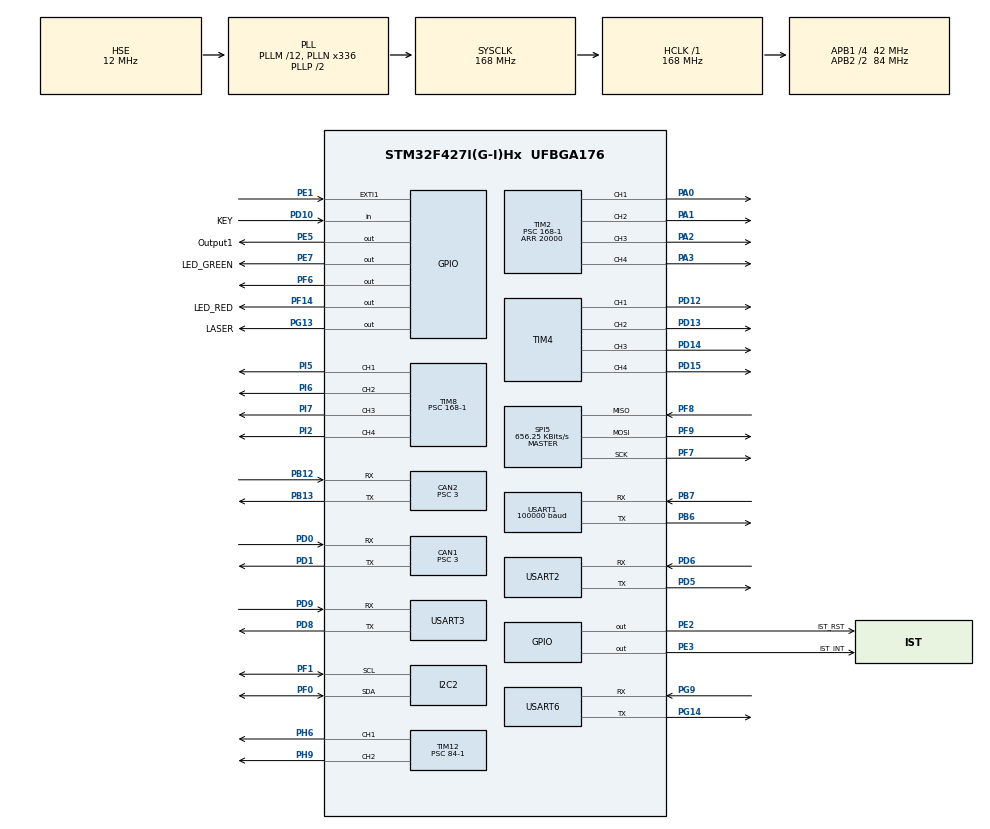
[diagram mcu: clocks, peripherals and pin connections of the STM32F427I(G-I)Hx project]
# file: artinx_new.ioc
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CAN1.BS1=CAN_BS1_9TQ
CAN1.BS2=CAN_BS2_4TQ
CAN1.CalculateTimeBit=1000
CAN1.CalculateTimeQuantum=71.42857142857143
CAN1.Mode=CAN_MODE_LOOPBACK
CAN1.Prescaler=3
CAN1.TXFP=ENABLE
CAN2.BS1=CAN_BS1_9TQ
CAN2.BS2=CAN_BS2_4TQ
CAN2.CalculateTimeBit=1000
CAN2.CalculateTimeQuantum=71.42857142857143
CAN2.Mode=CAN_MODE_LOOPBACK
CAN2.Prescaler=3
CAN2.TXFP=ENABLE
Dma.Request0=USART1_RX
Dma.USART1_RX.0.Direction=DMA_PERIPH_TO_MEMORY
Dma.USART1_RX.0.FIFOMode=DMA_FIFOMODE_DISABLE
Dma.USART1_RX.0.Instance=DMA2_Stream2
Dma.USART1_RX.0.MemDataAlignment=DMA_MDATAALIGN_BYTE
Dma.USART1_RX.0.MemInc=DMA_MINC_ENABLE
Dma.USART1_RX.0.Mode=DMA_NORMAL
Dma.USART1_RX.0.PeriphDataAlignment=DMA_PDATAALIGN_BYTE
Dma.USART1_RX.0.PeriphInc=DMA_PINC_DISABLE
Dma.USART1_RX.0.Priority=DMA_PRIORITY_LOW
Mcu.Family=STM32F4
Mcu.Name=STM32F427I(G-I)Hx
Mcu.Package=UFBGA176
NVIC.CAN1_RX0_IRQn=true\:1\:1\:true\:false\:true
NVIC.CAN1_TX_IRQn=true\:1\:1\:true\:false\:true
NVIC.CAN2_RX0_IRQn=true\:1\:1\:true\:false\:true
NVIC.CAN2_TX_IRQn=true\:1\:1\:true\:false\:true
NVIC.DMA2_Stream2_IRQn=true\:0\:0\:false\:false\:true
NVIC.EXTI1_IRQn=true\:0\:2\:false\:false\:true
NVIC.PriorityGroup=NVIC_PRIORITYGROUP_2
NVIC.TIM3_IRQn=true\:0\:0\:false\:false\:true
NVIC.TIM6_DAC_IRQn=true\:0\:1\:false\:false\:true
NVIC.USART1_IRQn=true\:0\:2\:false\:false\:true
NVIC.USART2_IRQn=true\:1\:0\:true\:false\:true
NVIC.USART3_IRQn=true\:1\:0\:true\:false\:true
NVIC.USART6_IRQn=true\:1\:0\:true\:false\:true
PA0/WKUP.Signal=S_TIM2_CH1_ETR
PA1.Signal=S_TIM2_CH2
PA2.Signal=S_TIM2_CH3
PA3.Signal=S_TIM2_CH4
PB12.Mode=Slave
PB12.Signal=CAN2_RX
PB13.Mode=Slave
PB13.Signal=CAN2_TX
PB6.Mode=Multiprocessor_communication
PB6.Signal=USART1_TX
PB7.Mode=Multiprocessor_communication
PB7.Signal=USART1_RX
PD0.Mode=Master
PD0.Signal=CAN1_RX
PD1.Mode=Master
PD1.Signal=CAN1_TX
PD10.GPIO_Label=KEY
PD10.Signal=GPIO_Input
PD12.GPIO_PuPd=GPIO_PULLUP
PD12.GPIO_Speed=GPIO_SPEED_FREQ_HIGH
PD12.Signal=S_TIM4_CH1
PD13.GPIO_PuPd=GPIO_PULLUP
PD13.GPIO_Speed=GPIO_SPEED_FREQ_HIGH
PD13.Signal=S_TIM4_CH2
PD14.GPIO_PuPd=GPIO_PULLUP
PD14.GPIO_Speed=GPIO_SPEED_FREQ_HIGH
PD14.Signal=S_TIM4_CH3
PD15.GPIO_PuPd=GPIO_PULLUP
PD15.GPIO_Speed=GPIO_SPEED_FREQ_HIGH
PD15.Signal=S_TIM4_CH4
PD5.Mode=Multiprocessor_communication
PD5.Signal=USART2_TX
PD6.Mode=Multiprocessor_communication
PD6.Signal=USART2_RX
PD8.Mode=Multiprocessor_communication
PD8.Signal=USART3_TX
PD9.Mode=Multiprocessor_communication
PD9.Signal=USART3_RX
PE1.Signal=GPXTI1
PE2.GPIO_Label=IST_RST
PE2.Signal=GPIO_Output
PE3.GPIO_Label=IST_INT
PE3.Signal=GPIO_Output
PE5.GPIO_Label=Output1
PE5.Signal=GPIO_Output
PE7.GPIO_Label=LED_GREEN
PE7.GPIO_Speed=GPIO_SPEED_FREQ_HIGH
PE7.Signal=GPIO_Output
PF0.GPIO_Speed=GPIO_SPEED_FREQ_LOW
PF0.Mode=I2C
PF0.Signal=I2C2_SDA
PF1.GPIO_Speed=GPIO_SPEED_FREQ_LOW
PF1.Mode=I2C
PF1.Signal=I2C2_SCL
PF14.GPIO_Label=LED_RED
PF14.GPIO_Speed=GPIO_SPEED_FREQ_HIGH
PF14.Signal=GPIO_Output
PF6.Signal=GPIO_Output
PF7.Mode=Full_Duplex_Master
PF7.Signal=SPI5_SCK
PF8.Mode=Full_Duplex_Master
PF8.Signal=SPI5_MISO
PF9.Mode=Full_Duplex_Master
PF9.Signal=SPI5_MOSI
PG13.GPIO_Label=LASER
PG13.Signal=GPIO_Output
PG14.Mode=Multiprocessor_communication
PG14.Signal=USART6_TX
PG9.Mode=Multiprocessor_communication
PG9.Signal=USART6_RX
PH0/OSC_IN.Mode=HSE-External-Oscillator
PH0/OSC_IN.Signal=RCC_OSC_IN
PH1/OSC_OUT.Mode=HSE-External-Oscillator
PH1/OSC_OUT.Signal=RCC_OSC_OUT
PH6.Signal=S_TIM12_CH1
PH9.Signal=S_TIM12_CH2
PI2.Signal=S_TIM8_CH4
PI5.Signal=S_TIM8_CH1
PI6.Signal=S_TIM8_CH2
PI7.Signal=S_TIM8_CH3
ProjectManager.HeapSize=0x200
ProjectManager.StackSize=0x400
ProjectManager.TargetToolchain=MDK-ARM V5
RCC.48MHZClocksFreq_Value=84000000
RCC.AHBFreq_Value=168000000
RCC.APB1CLKDivider=RCC_HCLK_DIV4
RCC.APB1Freq_Value=42000000
RCC.APB1TimFreq_Value=84000000
RCC.APB2CLKDivider=RCC_HCLK_DIV2
RCC.APB2Freq_Value=84000000
RCC.APB2TimFreq_Value=168000000
RCC.CortexFreq_Value=168000000
RCC.HCLKFreq_Value=168000000
RCC.HSE_VALUE=12000000
RCC.HSI_VALUE=16000000
RCC.LSE_VALUE=32768
RCC.PLLM=12
RCC.PLLN=336
RCC.PLLSourceVirtual=RCC_PLLSOURCE_HSE
RCC.SYSCLKFreq_VALUE=168000000
RCC.SYSCLKSource=RCC_SYSCLKSOURCE_PLLCLK
RCC.VCOOutputFreq_Value=336000000
SH.S_TIM12_CH1.0=TIM12_CH1,PWM Generation1 CH1
SH.S_TIM12_CH2.0=TIM12_CH2,PWM Generation2 CH2
SH.S_TIM2_CH1_ETR.0=TIM2_CH1,PWM Generation1 CH1
SH.S_TIM2_CH2.0=TIM2_CH2,PWM Generation2 CH2
SH.S_TIM2_CH3.0=TIM2_CH3,PWM Generation3 CH3
SH.S_TIM2_CH4.0=TIM2_CH4,PWM Generation4 CH4
SH.S_TIM4_CH1.0=TIM4_CH1,PWM Generation1 CH1
SH.S_TIM4_CH2.0=TIM4_CH2,PWM Generation2 CH2
SH.S_TIM4_CH3.0=TIM4_CH3,PWM Generation3 CH3
SH.S_TIM4_CH4.0=TIM4_CH4,PWM Generation4 CH4
SH.S_TIM8_CH1.0=TIM8_CH1,PWM Generation1 CH1
SH.S_TIM8_CH2.0=TIM8_CH2,PWM Generation2 CH2
SH.S_TIM8_CH3.0=TIM8_CH3,PWM Generation3 CH3
SH.S_TIM8_CH4.0=TIM8_CH4,PWM Generation4 CH4
SPI5.BaudRatePrescaler=SPI_BAUDRATEPRESCALER_128
SPI5.CalculateBaudRate=656.25 KBits/s
SPI5.Mode=SPI_MODE_MASTER
TIM12.Channel-PWM\ Generation2\ CH2=TIM_CHANNEL_2
TIM12.Period=2500
TIM12.Prescaler=84-1
TIM12.Pulse-PWM\ Generation1\ CH1=1000
TIM2.Channel-PWM\ Generation2\ CH2=TIM_CHANNEL_2
TIM2.Channel-PWM\ Generation3\ CH3=TIM_CHANNEL_3
TIM2.Channel-PWM\ Generation4\ CH4=TIM_CHANNEL_4
TIM2.Period=20000
TIM2.Prescaler=168-1
TIM3.Period=10000-1
TIM3.Prescaler=8400-1
TIM4.Channel-PWM\ Generation2\ CH2=TIM_CHANNEL_2
TIM4.Channel-PWM\ Generation3\ CH3=TIM_CHANNEL_3
TIM4.Channel-PWM\ Generation4\ CH4=TIM_CHANNEL_4
TIM5.Period=10000-1
TIM5.Prescaler=8400-1
TIM6.Period=1000
TIM6.Prescaler=84-1
TIM8.Channel-PWM\ Generation2\ CH2=TIM_CHANNEL_2
TIM8.Channel-PWM\ Generation3\ CH3=TIM_CHANNEL_3
TIM8.Channel-PWM\ Generation4\ CH4=TIM_CHANNEL_4
TIM8.Prescaler=168-1
USART1.BaudRate=100000
USART1.Mode=MODE_RX
USART1.Parity=PARITY_EVEN
VP_TIM12_VS_ClockSourceINT.Mode=Internal
VP_TIM2_VS_ClockSourceINT.Mode=Internal
VP_TIM3_VS_ClockSourceINT.Mode=Internal
VP_TIM4_VS_ClockSourceINT.Mode=Internal
VP_TIM5_VS_ClockSourceINT.Mode=Internal
VP_TIM6_VS_ClockSourceINT.Mode=Enable_Timer
VP_TIM8_VS_ClockSourceINT.Mode=Internal
board=artinx_new

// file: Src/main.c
/**
  ******************************************************************************
  * File Name          : main.c
  * Description        : Main program body
  ******************************************************************************
  *
  * COPYRIGHT(c) 2017 STMicroelectronics
  *
  * Redistribution and use in source and binary forms, with or without modification,
  * are permitted provided that the following conditions are met:
  *   1. Redistributions of source code must retain the above copyright notice,
  *      this list of conditions and the following disclaimer.
  *   2. Redistributions in binary form must reproduce the above copyright notice,
  *      this list of conditions and the following disclaimer in the documentation
  *      and/or other materials provided with the distribution.
  *   3. Neither the name of STMicroelectronics nor the names of its contributors
  *      may be used to endorse or promote products derived from this software
  *      without specific prior written permission.
  *
  * THIS SOFTWARE IS PROVIDED BY THE COPYRIGHT HOLDERS AND CONTRIBUTORS "AS IS"
  * AND ANY EXPRESS OR IMPLIED WARRANTIES, INCLUDING, BUT NOT LIMITED TO, THE
  * IMPLIED WARRANTIES OF MERCHANTABILITY AND FITNESS FOR A PARTICULAR PURPOSE ARE
  * DISCLAIMED. IN NO EVENT SHALL THE COPYRIGHT HOLDER OR CONTRIBUTORS BE LIABLE
  * FOR ANY DIRECT, INDIRECT, INCIDENTAL, SPECIAL, EXEMPLARY, OR CONSEQUENTIAL
  * DAMAGES (INCLUDING, BUT NOT LIMITED TO, PROCUREMENT OF SUBSTITUTE GOODS OR
  * SERVICES; LOSS OF USE, DATA, OR PROFITS; OR BUSINESS INTERRUPTION) HOWEVER
  * CAUSED AND ON ANY THEORY OF LIABILITY, WHETHER IN CONTRACT, STRICT LIABILITY,
  * OR TORT (INCLUDING NEGLIGENCE OR OTHERWISE) ARISING IN ANY WAY OUT OF THE USE
  * OF THIS SOFTWARE, EVEN IF ADVISED OF THE POSSIBILITY OF SUCH DAMAGE.
  *
  ******************************************************************************
  */
#include "main.h"
#include "stm32f4xx_hal.h"
#include "can.h"
#include "dma.h"
#include "i2c.h"
#include "spi.h"
#include "tim.h"
#include "usart.h"
#include "gpio.h"

/* USER CODE BEGIN Includes */
#include "stdio.h"
#include "delay.h"
#include "led.h"
#include "laser.h"
#include "dbus.h"
#include "sdbus.h"
#include "pid_algorithm.h"
#include "chassis_control.h"
#include "gimbal_control.h"
#include "test_imu.h"
#include "shoot_control.h"
#include "encoder.h"
#include "initialization.h"
#include "i2c_mpu6050.h"
#include "test_usart.h"
#include "test_can1.h"
#include "test_can2.h"
/* USER CODE END Includes */

uint8_t recv_end_flag=0;
/* USER CODE BEGIN PV */
/* Private variables ---------------------------------------------------------*/

/* USER CODE END PV */

void SystemClock_Config(void);
void Error_Handler(void);

/* USER CODE BEGIN PFP */
/* Private function prototypes -----------------------------------------------*/

/* USER CODE END PFP */

/* USER CODE BEGIN 0 */

//重新定向printf()函数对应的串口
#ifdef __GNUC__
#define PUTCHAR_PROTOTYPE int __io_putchar(int ch)
#else
#define PUTCHAR_PROTOTYPE int fputc(int ch, FILE *f)
#endif
PUTCHAR_PROTOTYPE
{
HAL_UART_Transmit(&huart6 , (uint8_t *)&ch, 1, 0xFFFF);
return ch;
}

/* USER CODE END 0 */

int main(void)
{
  //printf("start!");

  /* MCU Configuration----------------------------------------------------------*/

  /* Reset of all peripherals, Initializes the Flash interface and the Systick. */
  HAL_Init();

  /* Configure the system clock */
  SystemClock_Config();

  /* Initialize all configured peripherals */
  MX_GPIO_Init();
  MX_DMA_Init();
  MX_CAN1_Init();
  MX_CAN2_Init();
  MX_SPI5_Init();
  MX_TIM2_Init();
  MX_TIM3_Init();
  MX_TIM4_Init();
  MX_TIM5_Init();
  MX_TIM6_Init();
  MX_TIM8_Init();
  MX_TIM12_Init();
  MX_USART1_UART_Init();
  MX_USART2_UART_Init();
  MX_USART3_UART_Init();
  MX_USART6_UART_Init();
  MX_I2C2_Init();

  /* USER CODE BEGIN 2 */
	HAL_TIM_PWM_Start(&htim12, TIM_CHANNEL_1);
	HAL_TIM_PWM_Start(&htim12, TIM_CHANNEL_2);
	__HAL_UART_ENABLE_IT(&huart1, UART_IT_IDLE);
	HAL_UART_Receive_IT(&huart3, uart3_rx_buff, 1);
  HAL_UART_Receive_IT(&huart6, uart6_rx_buff, 1);
  delay_ms(1);

	CanFilter_Init(&hcan1);
	CanFilter_Init(&hcan2);
  if (HAL_CAN_Receive_IT(&hcan1, CAN_FIFO0) != HAL_OK)
  {
    Error_Handler();
  }
	else printf("hcan1 OK!\n");
	delay_ms(10);
	Initialization();
	delay_ms(2000);
  /* USER CODE END 2 */
  /* Infinite loop */
  while (1)
  {

  /* USER CODE BEGIN 3 */
	if(recv_end_flag ==1)
	{
//		printf("%d ",dbus.rc.ch0);
//		printf("%d ",dbus.rc.ch1);
//		printf("%d ",dbus.rc.ch2);
//  	printf("%d\n",dbus.rc.ch3);
//		printf("%d ",dbus.rc.s1);
//		printf("%d\r\n",dbus.rc.s2);
//		recv_end_flag=0;
	}
	//printf("main-%d --",yaw.thisAngle);
	//printf("-%d \n",pitch.thisAngle);
	HAL_UART_Receive_DMA(&huart1,dbus_buf,DBUS_BUF_SIZE);
					if(DBUS_Det(dbus))//rc开启判断
			{
				if(dbus.mouse.x>3){
				dbus.rc.ch2=dbus.rc.ch2+20;
				}
				if(dbus.mouse.x<-3){
				dbus.rc.ch2=dbus.rc.ch2-20;
				}
				move_control(dbus.rc.ch0, dbus.rc.ch1, dbus.rc.ch2, dbus.rc.s1, dbus.key.v,0);
			  BLDC_control(dbus.rc.s2, dbus.mouse.r);
			  Fire(dbus.rc.s2,dbus.mouse.l);
			}
	}
  /* USER CODE END 3 */

}

/** System Clock Configuration
*/
void SystemClock_Config(void)
{

  RCC_OscInitTypeDef RCC_OscInitStruct;
  RCC_ClkInitTypeDef RCC_ClkInitStruct;

    /**Configure the main internal regulator output voltage
    */
  __HAL_RCC_PWR_CLK_ENABLE();

  __HAL_PWR_VOLTAGESCALING_CONFIG(PWR_REGULATOR_VOLTAGE_SCALE1);

    /**Initializes the CPU, AHB and APB busses clocks
    */
  RCC_OscInitStruct.OscillatorType = RCC_OSCILLATORTYPE_HSE;
  RCC_OscInitStruct.HSEState = RCC_HSE_ON;
  RCC_OscInitStruct.PLL.PLLState = RCC_PLL_ON;
  RCC_OscInitStruct.PLL.PLLSource = RCC_PLLSOURCE_HSE;
  RCC_OscInitStruct.PLL.PLLM = 12;
  RCC_OscInitStruct.PLL.PLLN = 336;
  RCC_OscInitStruct.PLL.PLLP = RCC_PLLP_DIV2;
  RCC_OscInitStruct.PLL.PLLQ = 4;
  if (HAL_RCC_OscConfig(&RCC_OscInitStruct) != HAL_OK)
  {
    Error_Handler();
  }

    /**Initializes the CPU, AHB and APB busses clocks
    */
  RCC_ClkInitStruct.ClockType = RCC_CLOCKTYPE_HCLK|RCC_CLOCKTYPE_SYSCLK
                              |RCC_CLOCKTYPE_PCLK1|RCC_CLOCKTYPE_PCLK2;
  RCC_ClkInitStruct.SYSCLKSource = RCC_SYSCLKSOURCE_PLLCLK;
  RCC_ClkInitStruct.AHBCLKDivider = RCC_SYSCLK_DIV1;
  RCC_ClkInitStruct.APB1CLKDivider = RCC_HCLK_DIV4;
  RCC_ClkInitStruct.APB2CLKDivider = RCC_HCLK_DIV2;

  if (HAL_RCC_ClockConfig(&RCC_ClkInitStruct, FLASH_LATENCY_5) != HAL_OK)
  {
    Error_Handler();
  }

    /**Configure the Systick interrupt time
    */
  HAL_SYSTICK_Config(HAL_RCC_GetHCLKFreq()/1000);

    /**Configure the Systick
    */
  HAL_SYSTICK_CLKSourceConfig(SYSTICK_CLKSOURCE_HCLK);

  /* SysTick_IRQn interrupt configuration */
  HAL_NVIC_SetPriority(SysTick_IRQn, 0, 0);
}

void Error_Handler(void)
{
  while(1)
  {
  }
}

/************************ (C) COPYRIGHT STMicroelectronics *****END OF FILE****/
